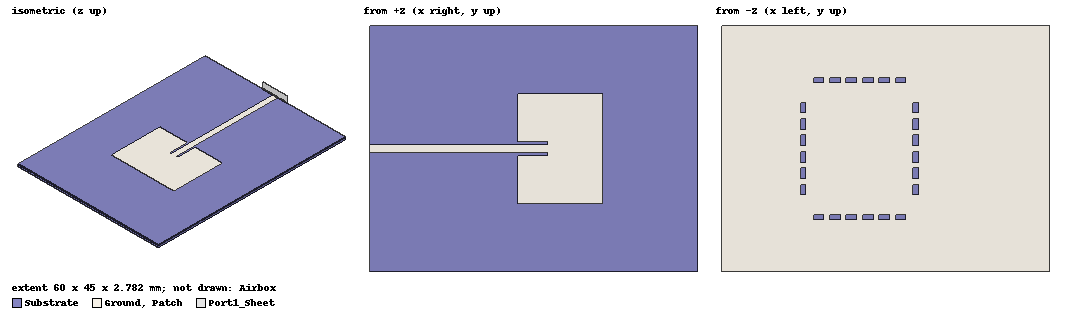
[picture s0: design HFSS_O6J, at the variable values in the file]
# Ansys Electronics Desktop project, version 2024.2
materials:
  vacuum: permittivity=1
  RO4350B: permittivity=3.48 permeability=1 dielectric_loss_tangent=0.0037
  pec: conductivity=1e+30
  air: permittivity=1.0006 permeability=1.0000004

design HFSS_O6J (HFSS, HFSS Terminal Network, model units mm)
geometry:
  Substrate [RO4350B] = box(corner=(-30mm, -22.5mm, 0mm), size=(60mm, 45mm, 0.762mm))
  Ground [pec] = rectangle(corner=(-30mm, -22.5mm, 0mm), x_size=60mm, y_size=45mm)
  Patch [pec] = rectangle(corner=(-2.99995mm, -10.01535mm, 0.762mm), x_size=15.5383mm, y_size=20.0307mm)
  Feed = rectangle(corner=(-30mm, -0.7991mm, 0.762mm), x_size=32.58775mm, y_size=1.5982mm)
  Patch.unite(Feed)
  TopCut_0_inset_gap_top = rectangle(corner=(-2.99995mm, 0.7991mm, 0.762mm), x_size=5.5877mm, y_size=0.4795mm)
  TopCut_1_inset_gap_bottom = rectangle(corner=(-2.99995mm, -1.2786mm, 0.762mm), x_size=5.5877mm, y_size=0.4795mm)
  Patch.subtract(TopCut_0_inset_gap_top, TopCut_1_inset_gap_bottom)
  GroundCut_0_ebg_0 = rectangle(corner=(-3.7147958mm, -12.994077mm, 0mm), x_size=1.9745024mm, y_size=0.95745479mm)
  GroundCut_1_ebg_1 = rectangle(corner=(-0.71609798mm, -12.994077mm, 0mm), x_size=1.9745024mm, y_size=0.95745479mm)
  GroundCut_2_ebg_2 = rectangle(corner=(2.2825999mm, -12.994077mm, 0mm), x_size=1.9745024mm, y_size=0.95745479mm)
  GroundCut_3_ebg_3 = rectangle(corner=(5.2812977mm, -12.994077mm, 0mm), x_size=1.9745024mm, y_size=0.95745479mm)
  GroundCut_4_ebg_4 = rectangle(corner=(8.2799955mm, -12.994077mm, 0mm), x_size=1.9745024mm, y_size=0.95745479mm)
  GroundCut_5_ebg_5 = rectangle(corner=(11.278693mm, -12.994077mm, 0mm), x_size=1.9745024mm, y_size=0.95745479mm)
  GroundCut_6_ebg_6 = rectangle(corner=(-3.7147958mm, 12.036623mm, 0mm), x_size=1.9745024mm, y_size=0.95745479mm)
  GroundCut_7_ebg_7 = rectangle(corner=(-0.71609798mm, 12.036623mm, 0mm), x_size=1.9745024mm, y_size=0.95745479mm)
  GroundCut_8_ebg_8 = rectangle(corner=(2.2825999mm, 12.036623mm, 0mm), x_size=1.9745024mm, y_size=0.95745479mm)
  GroundCut_9_ebg_9 = rectangle(corner=(5.2812977mm, 12.036623mm, 0mm), x_size=1.9745024mm, y_size=0.95745479mm)
  GroundCut_10_ebg_10 = rectangle(corner=(8.2799955mm, 12.036623mm, 0mm), x_size=1.9745024mm, y_size=0.95745479mm)
  GroundCut_11_ebg_11 = rectangle(corner=(11.278693mm, 12.036623mm, 0mm), x_size=1.9745024mm, y_size=0.95745479mm)
  GroundCut_12_ebg_12 = rectangle(corner=(-5.9786774mm, -8.4839958mm, 0mm), x_size=0.95745479mm, y_size=1.9745024mm)
  GroundCut_13_ebg_13 = rectangle(corner=(-5.9786774mm, -5.485298mm, 0mm), x_size=0.95745479mm, y_size=1.9745024mm)
  GroundCut_14_ebg_14 = rectangle(corner=(-5.9786774mm, -2.4866001mm, 0mm), x_size=0.95745479mm, y_size=1.9745024mm)
  GroundCut_15_ebg_15 = rectangle(corner=(-5.9786774mm, 0.5120977mm, 0mm), x_size=0.95745479mm, y_size=1.9745024mm)
  GroundCut_16_ebg_16 = rectangle(corner=(-5.9786774mm, 3.5107955mm, 0mm), x_size=0.95745479mm, y_size=1.9745024mm)
  GroundCut_17_ebg_17 = rectangle(corner=(-5.9786774mm, 6.5094934mm, 0mm), x_size=0.95745479mm, y_size=1.9745024mm)
  GroundCut_18_ebg_18 = rectangle(corner=(14.559623mm, -8.4839958mm, 0mm), x_size=0.95745479mm, y_size=1.9745024mm)
  GroundCut_19_ebg_19 = rectangle(corner=(14.559623mm, -5.485298mm, 0mm), x_size=0.95745479mm, y_size=1.9745024mm)
  GroundCut_20_ebg_20 = rectangle(corner=(14.559623mm, -2.4866001mm, 0mm), x_size=0.95745479mm, y_size=1.9745024mm)
  GroundCut_21_ebg_21 = rectangle(corner=(14.559623mm, 0.5120977mm, 0mm), x_size=0.95745479mm, y_size=1.9745024mm)
  GroundCut_22_ebg_22 = rectangle(corner=(14.559623mm, 3.5107955mm, 0mm), x_size=0.95745479mm, y_size=1.9745024mm)
  GroundCut_23_ebg_23 = rectangle(corner=(14.559623mm, 6.5094934mm, 0mm), x_size=0.95745479mm, y_size=1.9745024mm)
  Ground.subtract(GroundCut_0_ebg_0, GroundCut_1_ebg_1, GroundCut_2_ebg_2, GroundCut_3_ebg_3, GroundCut_4_ebg_4, GroundCut_5_ebg_5, GroundCut_6_ebg_6, GroundCut_7_ebg_7, GroundCut_8_ebg_8, GroundCut_9_ebg_9, GroundCut_10_ebg_10, GroundCut_11_ebg_11, GroundCut_12_ebg_12, GroundCut_13_ebg_13, GroundCut_14_ebg_14, GroundCut_15_ebg_15, GroundCut_16_ebg_16, GroundCut_17_ebg_17, GroundCut_18_ebg_18, GroundCut_19_ebg_19, GroundCut_20_ebg_20, GroundCut_21_ebg_21, GroundCut_22_ebg_22, GroundCut_23_ebg_23)
  Airbox [air] = box(corner=(-30mm, -42.5mm, -20mm), size=(80mm, 85mm, 40.762mm))
  Port1_Sheet = rectangle(corner=(-30mm, -3.9955mm, -0.02mm), y_size=7.991mm, z_size=2.782mm)
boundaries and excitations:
  Copper_PEC: Perfect E Objects=[Ground, Patch]
  Radiation: Radiation Objects=Airbox
  Port1: Wave Port Objects=Port1_Sheet WavePortType=Modal NumModes=1 Modes{Mode1{CharImp=Zpi RenormImp=50ohm}}
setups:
  Setup1: HfssDriven Frequency=5GHz MaxDeltaS=0.02 MaximumPasses=10 MinimumPasses=1 MinimumConvergedPasses=1 PercentRefinement=30 BasisOrder=1 PortAccuracy=2 DrivenSolverType="Direct Solver"
    sweep Sweep_4_6GHz: 4GHz to 6GHz, 101 points; Type=Interpolating SaveRadFields InterpTolerance=0.5 InterpMaxSolns=250 InterpUsePortImped=false PassivityErrorTolerance=0.0001
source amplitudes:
  Port1:1: 1V 0deg
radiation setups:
  InfiniteSphere_EH_Cuts: Infinite Sphere Theta=-180deg..180deg step 1deg Phi=-90deg..90deg step 90deg
